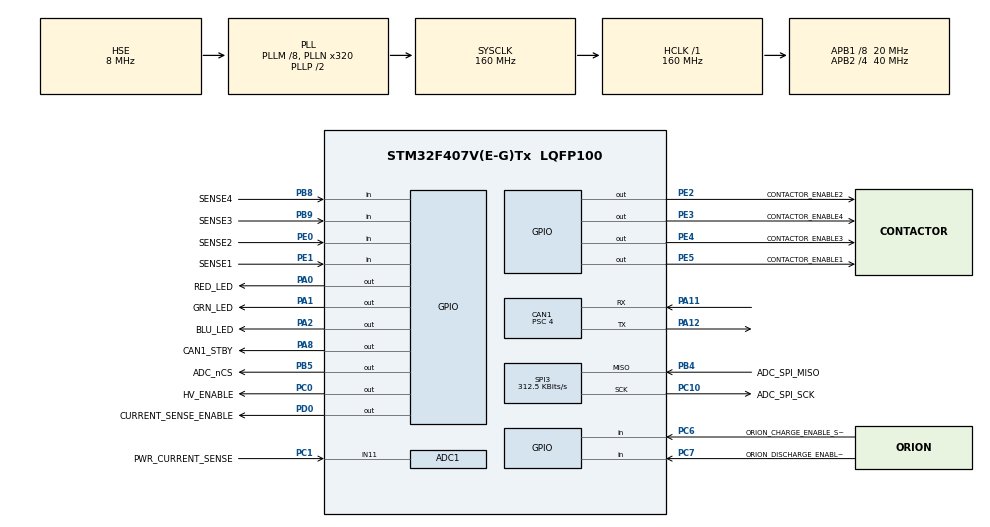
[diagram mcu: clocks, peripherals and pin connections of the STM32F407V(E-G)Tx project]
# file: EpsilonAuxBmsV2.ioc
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ADC1.Channel-0\#ChannelRegularConversion=ADC_CHANNEL_11
ADC1.ContinuousConvMode=ENABLE
ADC1.EOCSelection=ADC_EOC_SEQ_CONV
ADC1.NbrOfConversionFlag=1
ADC1.Rank-0\#ChannelRegularConversion=1
ADC1.SamplingTime-0\#ChannelRegularConversion=ADC_SAMPLETIME_3CYCLES
ADC1.master=1
CAN1.BS1=CAN_BS1_5TQ
CAN1.BS2=CAN_BS2_4TQ
CAN1.CalculateBaudRate=500000
CAN1.CalculateTimeBit=2000
CAN1.CalculateTimeQuantum=200.0
CAN1.Prescaler=4
Dma.Request0=SPI3_RX
Dma.SPI3_RX.0.Direction=DMA_PERIPH_TO_MEMORY
Dma.SPI3_RX.0.FIFOMode=DMA_FIFOMODE_DISABLE
Dma.SPI3_RX.0.Instance=DMA1_Stream0
Dma.SPI3_RX.0.MemDataAlignment=DMA_MDATAALIGN_HALFWORD
Dma.SPI3_RX.0.MemInc=DMA_MINC_DISABLE
Dma.SPI3_RX.0.Mode=DMA_NORMAL
Dma.SPI3_RX.0.PeriphDataAlignment=DMA_PDATAALIGN_HALFWORD
Dma.SPI3_RX.0.PeriphInc=DMA_PINC_DISABLE
Dma.SPI3_RX.0.Priority=DMA_PRIORITY_MEDIUM
FREERTOS.INCLUDE_uxTaskGetStackHighWaterMark2=1
FREERTOS.Tasks01=defaultTask,16,128,StartDefaultTask,Default,NULL,Dynamic,NULL,NULL
FREERTOS.configCHECK_FOR_STACK_OVERFLOW=2
FREERTOS.configRECORD_STACK_HIGH_ADDRESS=1
FREERTOS.configUSE_MALLOC_FAILED_HOOK=1
Mcu.Family=STM32F4
Mcu.Name=STM32F407V(E-G)Tx
Mcu.Package=LQFP100
NVIC.CAN1_RX0_IRQn=true\:5\:0\:false\:false\:true\:true\:true\:true\:true
NVIC.CAN1_TX_IRQn=true\:5\:0\:false\:false\:true\:true\:true\:true\:true
NVIC.DMA1_Stream0_IRQn=true\:5\:0\:false\:false\:true\:true\:false\:true\:true
NVIC.PriorityGroup=NVIC_PRIORITYGROUP_4
NVIC.SPI3_IRQn=true\:5\:0\:false\:false\:true\:true\:true\:true\:true
NVIC.TIM2_IRQn=true\:0\:0\:true\:false\:true\:false\:false\:true\:true
NVIC.TimeBase=TIM2_IRQn
NVIC.TimeBaseIP=TIM2
PA0-WKUP.GPIO_Label=RED_LED
PA0-WKUP.PinState=GPIO_PIN_SET
PA0-WKUP.Signal=GPIO_Output
PA1.GPIO_Label=GRN_LED
PA1.PinState=GPIO_PIN_SET
PA1.Signal=GPIO_Output
PA11.Mode=CAN_Activate
PA11.Signal=CAN1_RX
PA12.Mode=CAN_Activate
PA12.Signal=CAN1_TX
PA13.GPIO_Label=SWDIO
PA13.Mode=Trace_Asynchronous_SW
PA13.Signal=SYS_JTMS-SWDIO
PA14.GPIO_Label=SWDCLK
PA14.Mode=Trace_Asynchronous_SW
PA14.Signal=SYS_JTCK-SWCLK
PA15.GPIO_Label=JTDI
PA15.Signal=SYS_JTDI
PA2.GPIO_Label=BLU_LED
PA2.PinState=GPIO_PIN_SET
PA2.Signal=GPIO_Output
PA8.GPIO_Label=CAN1_STBY
PA8.PinState=GPIO_PIN_RESET
PA8.Signal=GPIO_Output
PB3.GPIO_Label=SWO
PB3.Mode=Trace_Asynchronous_SW
PB3.Signal=SYS_JTDO-SWO
PB4.GPIO_Label=ADC_SPI_MISO
PB4.Mode=RX_Only_Simplex_Unidirect_Master
PB4.Signal=SPI3_MISO
PB5.GPIO_Label=ADC_nCS
PB5.PinState=GPIO_PIN_SET
PB5.Signal=GPIO_Output
PB8.GPIO_Label=SENSE4
PB8.GPIO_PuPd=GPIO_NOPULL
PB8.Signal=GPIO_Input
PB9.GPIO_Label=SENSE3
PB9.GPIO_PuPd=GPIO_NOPULL
PB9.Signal=GPIO_Input
PC0.GPIO_Label=HV_ENABLE
PC0.Signal=GPIO_Output
PC1.GPIO_Label=PWR_CURRENT_SENSE
PC1.Signal=ADCx_IN11
PC10.GPIO_Label=ADC_SPI_SCK
PC10.Mode=RX_Only_Simplex_Unidirect_Master
PC10.Signal=SPI3_SCK
PC6.GPIO_Label=ORION_CHARGE_ENABLE_SENSE
PC6.GPIO_PuPd=GPIO_NOPULL
PC6.Signal=GPIO_Input
PC7.GPIO_Label=ORION_DISCHARGE_ENABLE_SENSE
PC7.GPIO_PuPd=GPIO_NOPULL
PC7.Signal=GPIO_Input
PD0.GPIO_Label=CURRENT_SENSE_ENABLE
PD0.PinState=GPIO_PIN_SET
PD0.Signal=GPIO_Output
PE0.GPIO_Label=SENSE2
PE0.GPIO_PuPd=GPIO_NOPULL
PE0.Signal=GPIO_Input
PE1.GPIO_Label=SENSE1
PE1.GPIO_PuPd=GPIO_NOPULL
PE1.Signal=GPIO_Input
PE2.GPIO_Label=CONTACTOR_ENABLE2
PE2.Signal=GPIO_Output
PE3.GPIO_Label=CONTACTOR_ENABLE4
PE3.Signal=GPIO_Output
PE4.GPIO_Label=CONTACTOR_ENABLE3
PE4.Signal=GPIO_Output
PE5.GPIO_Label=CONTACTOR_ENABLE1
PE5.Signal=GPIO_Output
PH0-OSC_IN.GPIO_Label=PH0-OSC_IN
PH0-OSC_IN.Mode=HSE-External-Oscillator
PH0-OSC_IN.Signal=RCC_OSC_IN
PH1-OSC_OUT.GPIO_Label=PH1-OSC_OUT
PH1-OSC_OUT.Mode=HSE-External-Oscillator
PH1-OSC_OUT.Signal=RCC_OSC_OUT
ProjectManager.HeapSize=0x200
ProjectManager.StackSize=0x400
ProjectManager.TargetToolchain=SW4STM32
RCC.48MHZClocksFreq_Value=80000000
RCC.AHBFreq_Value=160000000
RCC.APB1CLKDivider=RCC_HCLK_DIV8
RCC.APB1Freq_Value=20000000
RCC.APB1TimFreq_Value=40000000
RCC.APB2CLKDivider=RCC_HCLK_DIV4
RCC.APB2Freq_Value=40000000
RCC.APB2TimFreq_Value=80000000
RCC.CortexFreq_Value=160000000
RCC.HCLKFreq_Value=160000000
RCC.HSE_VALUE=8000000
RCC.HSI_VALUE=16000000
RCC.LSE_VALUE=32768
RCC.PLLM=8
RCC.PLLN=320
RCC.PLLSourceVirtual=RCC_PLLSOURCE_HSE
RCC.SYSCLKFreq_VALUE=160000000
RCC.SYSCLKSource=RCC_SYSCLKSOURCE_PLLCLK
RCC.VCOOutputFreq_Value=320000000
SH.ADCx_IN11.0=ADC1_IN11,IN11
SPI3.BaudRatePrescaler=SPI_BAUDRATEPRESCALER_64
SPI3.CLKPolarity=SPI_POLARITY_HIGH
SPI3.CalculateBaudRate=312.5 KBits/s
SPI3.DataSize=SPI_DATASIZE_16BIT
SPI3.Direction=SPI_DIRECTION_2LINES_RXONLY
SPI3.Mode=SPI_MODE_MASTER
SPI3.VirtualType=VM_MASTER
VP_FREERTOS_VS_CMSIS_V2.Mode=CMSIS_V2
VP_SYS_VS_tim2.Mode=TIM2
board=custom

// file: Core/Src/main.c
/* USER CODE BEGIN Header */
/**
  ******************************************************************************
  * @file           : main.c
  * @brief          : Main program body
  ******************************************************************************
  * @attention
  *
  * <h2><center>&copy; Copyright (c) 2020 STMicroelectronics.
  * All rights reserved.</center></h2>
  *
  * This software component is licensed by ST under Ultimate Liberty license
  * SLA0044, the "License"; You may not use this file except in compliance with
  * the License. You may obtain a copy of the License at:
  *                             www.st.com/SLA0044
  *
  ******************************************************************************
  */
/* USER CODE END Header */
#include "main.h"
#include "cmsis_os.h"

/* USER CODE BEGIN Includes */
// Type includes
#include "AuxStatus.h"
#include "AuxTrip.h"
#include "CanRxQueueData.h"
#include "CanTxGatekeeperQueueData.h"
#include "ContactorState.h"
#include "ErrorTypes.h"
#include "OrionCanInfo.h"
// Task Includes
#include "CanRxInterruptParserTask.h"
#include "CanTxGatekeeperTask.h"
#include "ChargeContactorGatekeeperTask.h"
#include "CommonContactorGatekeeperTask.h"
#include "ContactorStatusUpdateTask.h"
#include "DischargeContactorGatekeeperTask.h"
#include "OrionInterfaceTask.h"
#include "ReadAuxVoltageTask.h"
#include "SendAuxStatusTask.h"
#include "SendAuxTripTask.h"
#include "SendHeartbeatTask.h"
#include "StartupTask.h"
#include <string.h>

#ifdef MEMORY_DEBUG
#include "MemoryDebugTask.h"
#endif

/* USER CODE END Includes */

/* USER CODE BEGIN PD */
#define CAN_RX_PARSER_QUEUE_COUNT 4 // Anticipating 3 messages being received. +1 for extra headroom
#define ORION_INTERFACE_QUEUE_COUNT 4 // Same reason as above
#define CAN_TX_GATEKEEPER_QUEUE_COUNT 1
/* USER CODE END PD */

ADC_HandleTypeDef hadc1;

CAN_HandleTypeDef hcan1;

SPI_HandleTypeDef hspi3;
DMA_HandleTypeDef hdma_spi3_rx;

/* Definitions for defaultTask */
osThreadId_t defaultTaskHandle;
const osThreadAttr_t defaultTask_attributes = {
  .name = "defaultTask",
  .stack_size = 128 * 4,
  .priority = (osPriority_t) osPriorityBelowNormal,
};
/* USER CODE BEGIN PV */
// SPI Rx Buffer
uint8_t spiRxBuff[AUX_BMS_SPI_BUFFER_SIZE] = {0};

// CAN Tx Header
const CAN_TxHeaderTypeDef BASE_CAN_TX_HDR = {.ExtId = 0,
                                             .RTR = CAN_RTR_DATA,
                                             .IDE = CAN_ID_STD,
                                             .TransmitGlobalTime = DISABLE
                                            };

// Queues
osMessageQueueId_t canRxParserQueue;
osMessageQueueId_t orionInterfaceQueue;
osMessageQueueId_t canTxGatekeeperQueue;

// Event Bits
osEventFlagsId_t contactorControlEventBits;

// Mutexes
osMutexId_t auxStatusOrionInterfaceMutex;
osMutexId_t auxStatusReadAuxVoltageMutex;
osMutexId_t auxStatusContactorStatusUpdateMutex;
osMutexId_t auxTripMutex;

// Global variables
ErrorCodes errorCode;
AuxStatus auxStatus;
AuxTrip auxTrip;
AuxBmsContactorState auxBmsContactorState;
uint32_t manualChargeTrip;

// Task Handles
osThreadId_t startupTaskHandle;
osThreadId_t canRxInterruptParserTaskHandle;
osThreadId_t orionInterfaceTaskHandle;
osThreadId_t canTxGatekeeperTaskHandle;
osThreadId_t sendAuxStatusTaskHandle;
osThreadId_t sendAuxTripTaskHandle;
osThreadId_t sendHeartbeatTaskHandle;
osThreadId_t commonContactorGatekeeperTaskHandle;
osThreadId_t chargeContactorGatekeeperTaskHandle;
osThreadId_t dischargeContactorGatekeeperTaskHandle;
osThreadId_t contactorStatusUpdateTaskHandle;
osThreadId_t readAuxVoltageTaskHandle;

//Trace Handles
traceHandle CanRxTraceHandle;
traceHandle CanTxTraceHandle;
traceHandle SPIRxTraceHandle;

traceString auxVoltageTrace;
traceString lowCellVoltageTrace;
traceString highCellVoltageTrace;
traceString packCurrentTrace;
traceString batteryTemperatureTrace;
traceString commonStateTrace;
traceString chargeStateTrace;
traceString dischargeStateTrace;
traceString manualChargeTripTrace;

#ifdef MEMORY_DEBUG
osThreadId_t memoryDebugTaskHandle;
#endif

// Thread Attributes
const osThreadAttr_t startupTask_attributes =
{
    .name = "startupTask",
    .priority = (osPriority_t) osPriorityHigh2,
    .stack_size = 128 * 4
};
const osThreadAttr_t  canRxInterruptParserTask_attributes =
{
    .name = "canRxInterruptParserTask",
    .priority = (osPriority_t) osPriorityHigh1,
    .stack_size = 128 * 4
};

const osThreadAttr_t  orionInterfaceTask_attributes =
{
    .name = "orionInterfaceTask",
    .priority = (osPriority_t) osPriorityHigh,
    .stack_size = 128 * 4
};
const osThreadAttr_t  canTxGatekeeperTask_attributes =
{
    .name = "canTxGatekeeperTask",
    .priority = (osPriority_t) osPriorityAboveNormal1,
    .stack_size = 128 * 4
};
const osThreadAttr_t  sendAuxStatusTask_attributes =
{
    .name = "sendAuxStatusTask",
    .priority = (osPriority_t) osPriorityAboveNormal,
    .stack_size = 128 * 4
};
const osThreadAttr_t  sendAuxTripTask_attributes =
{
    .name = "sendAuxTripTask",
    .priority = (osPriority_t) osPriorityAboveNormal,
    .stack_size = 128 * 4
};
const osThreadAttr_t  sendHeartbeatTask_attributes =
{
    .name = "sendHeartbeatTask",
    .priority = (osPriority_t) osPriorityAboveNormal,
    .stack_size = 128 * 4
};
const osThreadAttr_t commonContactorGatekeeperTask_attributes =
{
    .name = "commonContactorGatekeeperTask",
    .priority = (osPriority_t) osPriorityNormal,
    .stack_size = 128 * 4
};
const osThreadAttr_t chargeContactorGatekeeperTask_attributes =
{
    .name = "chargeContactorGatekeeperTask",
    .priority = (osPriority_t) osPriorityNormal,
    .stack_size = 128 * 4
};
const osThreadAttr_t dischargeContactorGatekeeperTask_attributes =
{
    .name = "dischargeContactorGatekeeperTask",
    .priority = (osPriority_t) osPriorityNormal,
    .stack_size = 128 * 4
};
const osThreadAttr_t  contactorStatusUpdateTask_attributes =
{
    .name = "contactorStatusUpdateTask",
    .priority = (osPriority_t) osPriorityNormal,
    .stack_size = 128 * 4
};
const osThreadAttr_t  readAuxVoltageTask_attributes =
{
    .name = "readAuxVoltageTask",
    .priority = (osPriority_t) osPriorityNormal,
    .stack_size = 128 * 4
};
#ifdef MEMORY_DEBUG
const osThreadAttr_t memoryDebugTask_attributes =
{
    .name = "memoryDebugTask",
    .priority = (osPriority_t) osPriorityNormal,
    .stack_size = 128 * 4
};
#endif

// Mutex Attributes
const osMutexAttr_t auxStatusOrionInterfaceMutex_attributes =
{
    .name = "auxStatusOrionInterfaceMutex",
    .attr_bits = osMutexPrioInherit
};
const osMutexAttr_t auxStatusReadAuxVoltageMutex_attributes =
{
    .name = "auxStatusReadAuxVoltageMutex",
    .attr_bits = osMutexPrioInherit
};
const osMutexAttr_t auxStatusContactorStatusUpdateMutex_attributes =
{
    .name = "auxStatusContactorStatusUpdateMutex",
    .attr_bits = osMutexPrioInherit
};
const osMutexAttr_t auxTripMutex_attributes =
{
    .name = "auxTripMutex"
};
/* USER CODE END PV */

void SystemClock_Config(void);
static void MX_GPIO_Init(void);
static void MX_DMA_Init(void);
static void MX_ADC1_Init(void);
static void MX_CAN1_Init(void);
static void MX_SPI3_Init(void);
void StartDefaultTask(void *argument);

/* USER CODE BEGIN PFP */
void MX_CAN1_User_Init(void);

/* USER CODE END PFP */

int main(void)
{
  /* USER CODE BEGIN 1 */
    errorCode = SETUP;
    auxStatus = (AuxStatus)
    {
        0
    };
    auxTrip = (AuxTrip)
    {
        0
    };
    auxBmsContactorState = (AuxBmsContactorState)
    {
        .commonState = OPEN,
         .chargeState = OPEN,
          .dischargeState = OPEN,
           .startupDone = 0,
            .contactorsDisconnected = 0,
              .orionHappyForStartup = 0
    };

  /* USER CODE END 1 */

  /* MCU Configuration--------------------------------------------------------*/

  /* Reset of all peripherals, Initializes the Flash interface and the Systick. */
  HAL_Init();

  /* USER CODE BEGIN Init */
  contactorControlEventBits = osEventFlagsNew(NULL);
  /* USER CODE END Init */

  /* Configure the system clock */
  SystemClock_Config();

  /* USER CODE BEGIN SysInit */
  //initialize ISR and output channels
  vTraceEnable(TRC_START);
  CanRxTraceHandle = xTraceSetISRProperties("ISRCanRx", CANInterruptPriority);
  CanTxTraceHandle = xTraceSetISRProperties("ISRCanTx", CANInterruptPriority);
  SPIRxTraceHandle = xTraceSetISRProperties("ISRSPIRx", SPIInterruptPriority);

  xTraceStringRegister("auxVoltage", &auxVoltageTrace);
  xTraceStringRegister("lowcellVoltage", &lowCellVoltageTrace);
  xTraceStringRegister("highCellVoltage", &highCellVoltageTrace);
  xTraceStringRegister("busCurrent", &packCurrentTrace);
  xTraceStringRegister("batteryTeperature", &batteryTemperatureTrace);
  xTraceStringRegister("commonState", &commonStateTrace);
  xTraceStringRegister("chargeState", &chargeStateTrace);
  xTraceStringRegister("dischargeState", &dischargeStateTrace);
  xTraceStringRegister("manualChargeTripTrace", &manualChargeTripTrace);

  /* USER CODE END SysInit */

  /* Initialize all configured peripherals */
  MX_GPIO_Init();
  MX_DMA_Init();
  MX_ADC1_Init();
  MX_CAN1_Init();
  MX_SPI3_Init();
  /* USER CODE BEGIN 2 */

    // Additional initialization for CAN
    MX_CAN1_User_Init();

    //Activate Can Recieve Interrupts
    if (HAL_CAN_ActivateNotification(&hcan1, CAN_IT_RX_FIFO0_MSG_PENDING |
                                     CAN_IT_ERROR_WARNING |
                                     CAN_IT_ERROR_PASSIVE |
                                     CAN_IT_BUSOFF |
                                     CAN_IT_LAST_ERROR_CODE |
                                     CAN_IT_ERROR) != HAL_OK)
    {
        /* Reception error */
        Error_Handler();
    }

    // Start CAN Module
    if (HAL_CAN_Start(&hcan1) != HAL_OK)
    {
        Error_Handler();
    }

    // Start ADC
    HAL_ADC_Start(&hadc1);

  /* USER CODE END 2 */

  /* Init scheduler */
  osKernelInitialize();

  /* USER CODE BEGIN RTOS_MUTEX */
    auxStatusOrionInterfaceMutex = osMutexNew(&auxStatusOrionInterfaceMutex_attributes);
    auxStatusReadAuxVoltageMutex = osMutexNew(&auxStatusReadAuxVoltageMutex_attributes);
    auxStatusContactorStatusUpdateMutex = osMutexNew(&auxStatusContactorStatusUpdateMutex_attributes);
    auxTripMutex = osMutexNew(&auxTripMutex_attributes);
  /* USER CODE END RTOS_MUTEX */

  /* USER CODE BEGIN RTOS_QUEUES */
    canRxParserQueue = osMessageQueueNew(CAN_RX_PARSER_QUEUE_COUNT, sizeof(CanRxQueueData), NULL);
    orionInterfaceQueue = osMessageQueueNew(ORION_INTERFACE_QUEUE_COUNT, sizeof(OrionCanInfo), NULL);
    canTxGatekeeperQueue = osMessageQueueNew(CAN_TX_GATEKEEPER_QUEUE_COUNT, sizeof(CanTxGatekeeperQueueData), NULL);

    vTraceSetQueueName(canRxParserQueue, "canRxParserQueue");
    vTraceSetQueueName(orionInterfaceQueue, "orionInterfaceQueue");
    vTraceSetQueueName(canTxGatekeeperQueue, "canTxGatekeeperQueue");
  /* USER CODE END RTOS_QUEUES */

  /* Create the thread(s) */
  /* creation of defaultTask */
  defaultTaskHandle = osThreadNew(StartDefaultTask, NULL, &defaultTask_attributes);

  /* USER CODE BEGIN RTOS_THREADS */
    startupTaskHandle = osThreadNew(startupTask, NULL, &startupTask_attributes);
    canRxInterruptParserTaskHandle = osThreadNew(canRxInterruptParserTask, NULL, &canRxInterruptParserTask_attributes);
    orionInterfaceTaskHandle = osThreadNew(orionInterfaceTask, NULL, &orionInterfaceTask_attributes);
    canTxGatekeeperTaskHandle = osThreadNew(canTxGatekeeperTask, NULL, &canTxGatekeeperTask_attributes);
    sendAuxStatusTaskHandle = osThreadNew(sendAuxStatusTask, NULL, &sendAuxStatusTask_attributes);
    sendAuxTripTaskHandle = osThreadNew(sendAuxTripTask, NULL, &sendAuxTripTask_attributes);
    sendHeartbeatTaskHandle = osThreadNew(sendHeartbeatTask, NULL, &sendHeartbeatTask_attributes);
    commonContactorGatekeeperTaskHandle = osThreadNew(commonContactorGatekeeperTask, NULL, &commonContactorGatekeeperTask_attributes);
    chargeContactorGatekeeperTaskHandle = osThreadNew(chargeContactorGatekeeperTask, NULL, &chargeContactorGatekeeperTask_attributes);
    dischargeContactorGatekeeperTaskHandle = osThreadNew(dischargeContactorGatekeeperTask, NULL, &dischargeContactorGatekeeperTask_attributes);
    contactorStatusUpdateTaskHandle = osThreadNew(contactorStatusUpdateTask, NULL, &contactorStatusUpdateTask_attributes);
    readAuxVoltageTaskHandle = osThreadNew(readAuxVoltageTask, NULL, &readAuxVoltageTask_attributes);

#ifdef MEMORY_DEBUG
    memoryDebugTaskHandle = osThreadNew(memoryDebugTask, NULL, &memoryDebugTask_attributes);
#endif
  /* USER CODE END RTOS_THREADS */

  /* Start scheduler */
  osKernelStart();

  /* We should never get here as control is now taken by the scheduler */
  /* Infinite loop */
    while (1)
    {

    }
}

void SystemClock_Config(void)
{
  RCC_OscInitTypeDef RCC_OscInitStruct = {0};
  RCC_ClkInitTypeDef RCC_ClkInitStruct = {0};

  /** Configure the main internal regulator output voltage
  */
  __HAL_RCC_PWR_CLK_ENABLE();
  __HAL_PWR_VOLTAGESCALING_CONFIG(PWR_REGULATOR_VOLTAGE_SCALE1);
  /** Initializes the RCC Oscillators according to the specified parameters
  * in the RCC_OscInitTypeDef structure.
  */
  RCC_OscInitStruct.OscillatorType = RCC_OSCILLATORTYPE_HSE;
  RCC_OscInitStruct.HSEState = RCC_HSE_ON;
  RCC_OscInitStruct.PLL.PLLState = RCC_PLL_ON;
  RCC_OscInitStruct.PLL.PLLSource = RCC_PLLSOURCE_HSE;
  RCC_OscInitStruct.PLL.PLLM = 8;
  RCC_OscInitStruct.PLL.PLLN = 320;
  RCC_OscInitStruct.PLL.PLLP = RCC_PLLP_DIV2;
  RCC_OscInitStruct.PLL.PLLQ = 4;
  if (HAL_RCC_OscConfig(&RCC_OscInitStruct) != HAL_OK)
  {
    Error_Handler();
  }
  /** Initializes the CPU, AHB and APB buses clocks
  */
  RCC_ClkInitStruct.ClockType = RCC_CLOCKTYPE_HCLK|RCC_CLOCKTYPE_SYSCLK
                              |RCC_CLOCKTYPE_PCLK1|RCC_CLOCKTYPE_PCLK2;
  RCC_ClkInitStruct.SYSCLKSource = RCC_SYSCLKSOURCE_PLLCLK;
  RCC_ClkInitStruct.AHBCLKDivider = RCC_SYSCLK_DIV1;
  RCC_ClkInitStruct.APB1CLKDivider = RCC_HCLK_DIV8;
  RCC_ClkInitStruct.APB2CLKDivider = RCC_HCLK_DIV4;

  if (HAL_RCC_ClockConfig(&RCC_ClkInitStruct, FLASH_LATENCY_5) != HAL_OK)
  {
    Error_Handler();
  }
}

static void MX_ADC1_Init(void)
{

  ADC_ChannelConfTypeDef sConfig = {0};

  /** Configure the global features of the ADC (Clock, Resolution, Data Alignment and number of conversion)
  */
  hadc1.Instance = ADC1;
  hadc1.Init.ClockPrescaler = ADC_CLOCK_SYNC_PCLK_DIV2;
  hadc1.Init.Resolution = ADC_RESOLUTION_12B;
  hadc1.Init.ScanConvMode = DISABLE;
  hadc1.Init.ContinuousConvMode = ENABLE;
  hadc1.Init.DiscontinuousConvMode = DISABLE;
  hadc1.Init.ExternalTrigConvEdge = ADC_EXTERNALTRIGCONVEDGE_NONE;
  hadc1.Init.ExternalTrigConv = ADC_SOFTWARE_START;
  hadc1.Init.DataAlign = ADC_DATAALIGN_RIGHT;
  hadc1.Init.NbrOfConversion = 1;
  hadc1.Init.DMAContinuousRequests = DISABLE;
  hadc1.Init.EOCSelection = ADC_EOC_SEQ_CONV;
  if (HAL_ADC_Init(&hadc1) != HAL_OK)
  {
    Error_Handler();
  }
  /** Configure for the selected ADC regular channel its corresponding rank in the sequencer and its sample time.
  */
  sConfig.Channel = ADC_CHANNEL_11;
  sConfig.Rank = 1;
  sConfig.SamplingTime = ADC_SAMPLETIME_3CYCLES;
  if (HAL_ADC_ConfigChannel(&hadc1, &sConfig) != HAL_OK)
  {
    Error_Handler();
  }

}

static void MX_CAN1_Init(void)
{

  hcan1.Instance = CAN1;
  hcan1.Init.Prescaler = 4;
  hcan1.Init.Mode = CAN_MODE_NORMAL;
  hcan1.Init.SyncJumpWidth = CAN_SJW_1TQ;
  hcan1.Init.TimeSeg1 = CAN_BS1_5TQ;
  hcan1.Init.TimeSeg2 = CAN_BS2_4TQ;
  hcan1.Init.TimeTriggeredMode = DISABLE;
  hcan1.Init.AutoBusOff = DISABLE;
  hcan1.Init.AutoWakeUp = DISABLE;
  hcan1.Init.AutoRetransmission = DISABLE;
  hcan1.Init.ReceiveFifoLocked = DISABLE;
  hcan1.Init.TransmitFifoPriority = DISABLE;
  if (HAL_CAN_Init(&hcan1) != HAL_OK)
  {
    Error_Handler();
  }

}

static void MX_SPI3_Init(void)
{

  /* SPI3 parameter configuration*/
  hspi3.Instance = SPI3;
  hspi3.Init.Mode = SPI_MODE_MASTER;
  hspi3.Init.Direction = SPI_DIRECTION_2LINES_RXONLY;
  hspi3.Init.DataSize = SPI_DATASIZE_16BIT;
  hspi3.Init.CLKPolarity = SPI_POLARITY_HIGH;
  hspi3.Init.CLKPhase = SPI_PHASE_1EDGE;
  hspi3.Init.NSS = SPI_NSS_SOFT;
  hspi3.Init.BaudRatePrescaler = SPI_BAUDRATEPRESCALER_64;
  hspi3.Init.FirstBit = SPI_FIRSTBIT_MSB;
  hspi3.Init.TIMode = SPI_TIMODE_DISABLE;
  hspi3.Init.CRCCalculation = SPI_CRCCALCULATION_DISABLE;
  hspi3.Init.CRCPolynomial = 10;
  if (HAL_SPI_Init(&hspi3) != HAL_OK)
  {
    Error_Handler();
  }

}

static void MX_DMA_Init(void)
{

  /* DMA controller clock enable */
  __HAL_RCC_DMA1_CLK_ENABLE();

  /* DMA interrupt init */
  /* DMA1_Stream0_IRQn interrupt configuration */
  HAL_NVIC_SetPriority(DMA1_Stream0_IRQn, 5, 0);
  HAL_NVIC_EnableIRQ(DMA1_Stream0_IRQn);

}

static void MX_GPIO_Init(void)
{
  GPIO_InitTypeDef GPIO_InitStruct = {0};

  /* GPIO Ports Clock Enable */
  __HAL_RCC_GPIOE_CLK_ENABLE();
  __HAL_RCC_GPIOH_CLK_ENABLE();
  __HAL_RCC_GPIOC_CLK_ENABLE();
  __HAL_RCC_GPIOA_CLK_ENABLE();
  __HAL_RCC_GPIOD_CLK_ENABLE();
  __HAL_RCC_GPIOB_CLK_ENABLE();

  /*Configure GPIO pin Output Level */
  HAL_GPIO_WritePin(GPIOE, CONTACTOR_ENABLE2_Pin|CONTACTOR_ENABLE4_Pin|CONTACTOR_ENABLE3_Pin|CONTACTOR_ENABLE1_Pin, GPIO_PIN_RESET);

  /*Configure GPIO pin Output Level */
  HAL_GPIO_WritePin(HV_ENABLE_GPIO_Port, HV_ENABLE_Pin, GPIO_PIN_RESET);

  /*Configure GPIO pin Output Level */
  HAL_GPIO_WritePin(GPIOA, RED_LED_Pin|GRN_LED_Pin|BLU_LED_Pin, GPIO_PIN_SET);

  /*Configure GPIO pin Output Level */
  HAL_GPIO_WritePin(CAN1_STBY_GPIO_Port, CAN1_STBY_Pin, GPIO_PIN_RESET);

  /*Configure GPIO pin Output Level */
  HAL_GPIO_WritePin(CURRENT_SENSE_ENABLE_GPIO_Port, CURRENT_SENSE_ENABLE_Pin, GPIO_PIN_SET);

  /*Configure GPIO pin Output Level */
  HAL_GPIO_WritePin(ADC_nCS_GPIO_Port, ADC_nCS_Pin, GPIO_PIN_SET);

  /*Configure GPIO pins : CONTACTOR_ENABLE2_Pin CONTACTOR_ENABLE4_Pin CONTACTOR_ENABLE3_Pin CONTACTOR_ENABLE1_Pin */
  GPIO_InitStruct.Pin = CONTACTOR_ENABLE2_Pin|CONTACTOR_ENABLE4_Pin|CONTACTOR_ENABLE3_Pin|CONTACTOR_ENABLE1_Pin;
  GPIO_InitStruct.Mode = GPIO_MODE_OUTPUT_PP;
  GPIO_InitStruct.Pull = GPIO_NOPULL;
  GPIO_InitStruct.Speed = GPIO_SPEED_FREQ_LOW;
  HAL_GPIO_Init(GPIOE, &GPIO_InitStruct);

  /*Configure GPIO pin : HV_ENABLE_Pin */
  GPIO_InitStruct.Pin = HV_ENABLE_Pin;
  GPIO_InitStruct.Mode = GPIO_MODE_OUTPUT_PP;
  GPIO_InitStruct.Pull = GPIO_NOPULL;
  GPIO_InitStruct.Speed = GPIO_SPEED_FREQ_LOW;
  HAL_GPIO_Init(HV_ENABLE_GPIO_Port, &GPIO_InitStruct);

  /*Configure GPIO pins : RED_LED_Pin GRN_LED_Pin BLU_LED_Pin CAN1_STBY_Pin */
  GPIO_InitStruct.Pin = RED_LED_Pin|GRN_LED_Pin|BLU_LED_Pin|CAN1_STBY_Pin;
  GPIO_InitStruct.Mode = GPIO_MODE_OUTPUT_PP;
  GPIO_InitStruct.Pull = GPIO_NOPULL;
  GPIO_InitStruct.Speed = GPIO_SPEED_FREQ_LOW;
  HAL_GPIO_Init(GPIOA, &GPIO_InitStruct);

  /*Configure GPIO pins : ORION_CHARGE_ENABLE_SENSE_Pin ORION_DISCHARGE_ENABLE_SENSE_Pin */
  GPIO_InitStruct.Pin = ORION_CHARGE_ENABLE_SENSE_Pin|ORION_DISCHARGE_ENABLE_SENSE_Pin;
  GPIO_InitStruct.Mode = GPIO_MODE_INPUT;
  GPIO_InitStruct.Pull = GPIO_NOPULL;
  HAL_GPIO_Init(GPIOC, &GPIO_InitStruct);

  /*Configure GPIO pin : CURRENT_SENSE_ENABLE_Pin */
  GPIO_InitStruct.Pin = CURRENT_SENSE_ENABLE_Pin;
  GPIO_InitStruct.Mode = GPIO_MODE_OUTPUT_PP;
  GPIO_InitStruct.Pull = GPIO_NOPULL;
  GPIO_InitStruct.Speed = GPIO_SPEED_FREQ_LOW;
  HAL_GPIO_Init(CURRENT_SENSE_ENABLE_GPIO_Port, &GPIO_InitStruct);

  /*Configure GPIO pin : ADC_nCS_Pin */
  GPIO_InitStruct.Pin = ADC_nCS_Pin;
  GPIO_InitStruct.Mode = GPIO_MODE_OUTPUT_PP;
  GPIO_InitStruct.Pull = GPIO_NOPULL;
  GPIO_InitStruct.Speed = GPIO_SPEED_FREQ_LOW;
  HAL_GPIO_Init(ADC_nCS_GPIO_Port, &GPIO_InitStruct);

  /*Configure GPIO pins : SENSE4_Pin SENSE3_Pin */
  GPIO_InitStruct.Pin = SENSE4_Pin|SENSE3_Pin;
  GPIO_InitStruct.Mode = GPIO_MODE_INPUT;
  GPIO_InitStruct.Pull = GPIO_NOPULL;
  HAL_GPIO_Init(GPIOB, &GPIO_InitStruct);

  /*Configure GPIO pins : SENSE2_Pin SENSE1_Pin */
  GPIO_InitStruct.Pin = SENSE2_Pin|SENSE1_Pin;
  GPIO_InitStruct.Mode = GPIO_MODE_INPUT;
  GPIO_InitStruct.Pull = GPIO_NOPULL;
  HAL_GPIO_Init(GPIOE, &GPIO_InitStruct);

}

/* USER CODE BEGIN 4 */
void MX_CAN1_User_Init(void)
{
    CAN_FilterTypeDef orionVoltageTempFilterConfig;
    orionVoltageTempFilterConfig.FilterBank = 0; // Use first filter bank
    orionVoltageTempFilterConfig.FilterMode = CAN_FILTERMODE_IDLIST; // Look for specific can messages
    orionVoltageTempFilterConfig.FilterScale = CAN_FILTERSCALE_32BIT;
    orionVoltageTempFilterConfig.FilterIdHigh = ORION_HIGH_LOW_VOLTAGES_STDID << 5; // Filter registers need to be shifted left 5 bits
    orionVoltageTempFilterConfig.FilterIdLow = 0;
    orionVoltageTempFilterConfig.FilterMaskIdHigh = ORION_TEMP_INFO_STDID << 5;
    orionVoltageTempFilterConfig.FilterMaskIdLow = 0; // Unused
    orionVoltageTempFilterConfig.FilterFIFOAssignment = 0;
    orionVoltageTempFilterConfig.FilterActivation = ENABLE;
    orionVoltageTempFilterConfig.SlaveStartFilterBank = 0; // Set all filter banks for CAN1

    if (HAL_CAN_ConfigFilter(&hcan1, &orionVoltageTempFilterConfig) != HAL_OK)
    {
        /* Filter configuration Error */
        Error_Handler();
    }

    CAN_FilterTypeDef orionPackInfoFilterConfig;
    orionPackInfoFilterConfig.FilterBank = 1; // Use secondary filter bank
    orionPackInfoFilterConfig.FilterScale = CAN_FILTERSCALE_32BIT;
    orionPackInfoFilterConfig.FilterMode = CAN_FILTERMODE_IDLIST; // Look for specific can messages
    orionPackInfoFilterConfig.FilterIdHigh = ORION_PACK_INFO_STDID << 5; // Filter registers need to be shifted left 5 bits
    orionPackInfoFilterConfig.FilterIdLow = 0; // Filter registers need to be shifted left 5 bits
    orionPackInfoFilterConfig.FilterMaskIdHigh = 0;
    orionPackInfoFilterConfig.FilterMaskIdLow = 0; // Unused
    orionPackInfoFilterConfig.FilterFIFOAssignment = 0;
    orionPackInfoFilterConfig.FilterActivation = ENABLE;
    orionPackInfoFilterConfig.SlaveStartFilterBank = 0; // Set all filter banks for CAN2

    if (HAL_CAN_ConfigFilter(&hcan1, &orionPackInfoFilterConfig) != HAL_OK)
    {
        /* Filter configuration Error */
        Error_Handler();
    }

    CAN_FilterTypeDef driverControlsFilterConfig;
    driverControlsFilterConfig.FilterBank = 2; // Use tertiary filter bank
    driverControlsFilterConfig.FilterScale = CAN_FILTERSCALE_32BIT;
    driverControlsFilterConfig.FilterMode = CAN_FILTERMODE_IDLIST; // Look for specific can messages
    driverControlsFilterConfig.FilterIdHigh = DRIVER_CONTROLS_LIGHTS_INPUTS << 5; // Filter registers need to be shifted left 5 bits
    driverControlsFilterConfig.FilterIdLow = 0; // Filter registers need to be shifted left 5 bits
    driverControlsFilterConfig.FilterMaskIdHigh = 0;
    driverControlsFilterConfig.FilterMaskIdLow = 0; // Unused
    driverControlsFilterConfig.FilterFIFOAssignment = 0;
    driverControlsFilterConfig.FilterActivation = ENABLE;
    driverControlsFilterConfig.SlaveStartFilterBank = 0; // Set all filter banks for CAN2

    if (HAL_CAN_ConfigFilter(&hcan1, &driverControlsFilterConfig) != HAL_OK)
    {
        /* Filter configuration Error */
        Error_Handler();
    }
}

void HAL_CAN_RxFifo0MsgPendingCallback(CAN_HandleTypeDef* hcan)
{
    vTraceStoreISRBegin(CanRxTraceHandle);
    CAN_RxHeaderTypeDef hdr;
    uint8_t             data[8] = {0};

    if (HAL_CAN_GetRxMessage(hcan, CAN_RX_FIFO0, &hdr, data) != HAL_OK)
    {
        vTraceStoreISREnd(0);
        return;
    }

    CanRxQueueData message;
    message.canRxHeader = hdr;
    memcpy(message.data, data, sizeof(uint8_t) * 8);
    osMessageQueuePut(canRxParserQueue, &message, 0, IRQ_QUEUE_PUT_TIMEOUT);
    vTraceStoreISREnd(0);
}

void HAL_SPI_RxCpltCallback(SPI_HandleTypeDef* hspi)
{
    vTraceStoreISRBegin(SPIRxTraceHandle);
    osThreadFlagsSet(readAuxVoltageTaskHandle, SPI_READY_FLAG);
    vTraceStoreISREnd(0);
}

void vApplicationMallocFailedHook( void )
{
    errorCode = MALLOC_FAILED;
    Error_Handler();
}

void vApplicationStackOverflowHook( TaskHandle_t* pxTask, signed char* pcTaskName )
{

    if (*pxTask == startupTaskHandle)
    {
        errorCode = STACK_OVERFLOW_STARTUP_TASK;
    }
    else if (*pxTask == canRxInterruptParserTaskHandle)
    {
        errorCode = STACK_OVERFLOW_CAN_RX_PARSER_TASK;
    }
    else if (*pxTask == orionInterfaceTaskHandle)
    {
        errorCode = STACK_OVERFLOW_ORION_INTERFACE_TASK;
    }
    else if (*pxTask == canTxGatekeeperTaskHandle)
    {
        errorCode = STACK_OVERFLOW_CAN_TX_GTKPR_TASK;
    }
    else if (*pxTask == sendAuxStatusTaskHandle)
    {
        errorCode = STACK_OVERFLOW_SEND_AUX_STATUS_TASK;
    }
    else if (*pxTask == sendHeartbeatTaskHandle)
    {
        errorCode = STACK_OVERFLOW_SEND_HEARTBEAT_TASK;
    }
    else if (*pxTask == commonContactorGatekeeperTaskHandle)
    {
        errorCode = STACK_OVERFLOW_COMMON_CONTACTOR_GATEKEEPER_TASK;
    }
    else if (*pxTask == chargeContactorGatekeeperTaskHandle)
    {
        errorCode = STACK_OVERFLOW_CHARGE_CONTACTOR_GATEKEEPER_TASK;
    }
    else if (*pxTask == dischargeContactorGatekeeperTaskHandle)
    {
        errorCode = STACK_OVERFLOW_DISCHARGE_CONTACTOR_GATEKEEPER_TASK;
    }
    else if (*pxTask == contactorStatusUpdateTaskHandle)
    {
        errorCode = STACK_OVERFLOW_CONTACTOR_STATUS_UPDATE_TASK;
    }
    else if (*pxTask == readAuxVoltageTaskHandle)
    {
        errorCode = STACK_OVERFLOW_READ_AUX_VOLTAGE_TASK;
    }
    else
    {
        errorCode = STACK_OVERFLOW;
    }

    Error_Handler();
}

/* USER CODE END 4 */

void StartDefaultTask(void *argument)
{
    for (;;)
    {
        osDelay(1);
    }
}

void HAL_TIM_PeriodElapsedCallback(TIM_HandleTypeDef *htim)
{
  if (htim->Instance == TIM2) {
    HAL_IncTick();
  }
}

void Error_Handler(void)
{
  /* USER CODE BEGIN Error_Handler_Debug */
    vTaskSuspendAll();// Suspend Scheduler
    HAL_GPIO_WritePin(RED_LED_GPIO_Port, RED_LED_Pin, GPIO_PIN_RESET);
    uint32_t mailbox;
    uint8_t data[1] = {errorCode};
    CAN_TxHeaderTypeDef canTxHeader = BASE_CAN_TX_HDR;
    canTxHeader.DLC = 1;
    //TODO set the STDID
    HAL_CAN_AddTxMessage(&hcan1, &(canTxHeader), data, &mailbox);

    for (;;)
    {

    }

    /* User can add his own implementation to report the HAL error return state */

  /* USER CODE END Error_Handler_Debug */
}

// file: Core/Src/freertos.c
/* USER CODE BEGIN Header */
/**
  ******************************************************************************
  * File Name          : freertos.c
  * Description        : Code for freertos applications
  ******************************************************************************
  * @attention
  *
  * <h2><center>&copy; Copyright (c) 2020 STMicroelectronics.
  * All rights reserved.</center></h2>
  *
  * This software component is licensed by ST under Ultimate Liberty license
  * SLA0044, the "License"; You may not use this file except in compliance with
  * the License. You may obtain a copy of the License at:
  *                             www.st.com/SLA0044
  *
  ******************************************************************************
  */
/* USER CODE END Header */

#include "FreeRTOS.h"
#include "task.h"
#include "main.h"

/* Hook prototypes */
void vApplicationStackOverflowHook(xTaskHandle xTask, signed char *pcTaskName);
void vApplicationMallocFailedHook(void);

/* USER CODE BEGIN 4 */
__weak void vApplicationStackOverflowHook(xTaskHandle xTask, signed char* pcTaskName)
{
    /* Run time stack overflow checking is performed if
    configCHECK_FOR_STACK_OVERFLOW is defined to 1 or 2. This hook function is
    called if a stack overflow is detected. */
}
/* USER CODE END 4 */

/* USER CODE BEGIN 5 */
__weak void vApplicationMallocFailedHook(void)
{
    /* vApplicationMallocFailedHook() will only be called if
    configUSE_MALLOC_FAILED_HOOK is set to 1 in FreeRTOSConfig.h. It is a hook
    function that will get called if a call to pvPortMalloc() fails.
    pvPortMalloc() is called internally by the kernel whenever a task, queue,
    timer or semaphore is created. It is also called by various parts of the
    demo application. If heap_1.c or heap_2.c are used, then the size of the
    heap available to pvPortMalloc() is defined by configTOTAL_HEAP_SIZE in
    FreeRTOSConfig.h, and the xPortGetFreeHeapSize() API function can be used
    to query the size of free heap space that remains (although it does not
    provide information on how the remaining heap might be fragmented). */
}
/* USER CODE END 5 */

/************************ (C) COPYRIGHT STMicroelectronics *****END OF FILE****/
